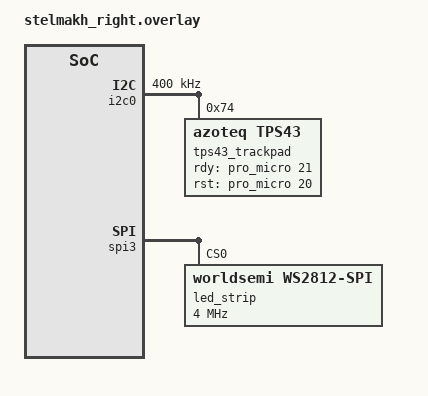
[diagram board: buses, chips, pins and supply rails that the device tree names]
#include <zephyr/dt-bindings/i2c/i2c.h>
#include <dt-bindings/pinctrl/nrf-pinctrl.h>
#include <dt-bindings/gpio/gpio.h>
#include <dt-bindings/led/led.h>
#include "stelmakh.dtsi"
#include "stelmakh-pinctrl.dtsi"

&default_transform {
    col-offset = <6>;
};

&kscan0 {
    col-gpios
        = <&pro_micro 10 GPIO_ACTIVE_HIGH>
        , <&pro_micro 16 GPIO_ACTIVE_HIGH>
        , <&pro_micro 14 GPIO_ACTIVE_HIGH>
        , <&pro_micro 15 GPIO_ACTIVE_HIGH>
        , <&pro_micro 18 GPIO_ACTIVE_HIGH>
        , <&pro_micro 19 GPIO_ACTIVE_HIGH>
        ;
};

&gpio0 {
    status = "okay";
};

&gpio1 {
    status = "okay";
};

&i2c0 {
    status = "okay";
    clock-frequency = <I2C_BITRATE_FAST>;
    pinctrl-0 = <&i2c0_azoteq_default>;
    pinctrl-1 = <&i2c0_azoteq_sleep>;
    pinctrl-names = "default", "sleep";

    tps43_trackpad: trackpad@74 {
        compatible = "azoteq,tps43";
        reg = <0x74>;
        status = "okay";

        rdy-gpios = <&pro_micro 21 GPIO_ACTIVE_HIGH>;
        rst-gpios = <&pro_micro 20 GPIO_ACTIVE_HIGH>;

        sensitivity = <100>;
        scroll-sensitivity = <50>;
        filter-settings=<0x0B>;
        scroll;
        two-finger-tap;
        single-tap;
        press-and-hold;
        swipes;
        invert-scroll-y;
        invert-x;
    };
};

// ─────────────────────────────────────────────────────────────
// WS2812 RGB Underglow
// Пин P1.12 уже определён в stelmakh-pinctrl.dtsi (spi3)
// Здесь только подключаем устройство — &pinctrl не дублируем
// ─────────────────────────────────────────────────────────────
&spi3 {
    compatible = "nordic,nrf-spim";
    status = "okay";

    pinctrl-0 = <&spi3_default>;
    pinctrl-1 = <&spi3_sleep>;
    pinctrl-names = "default", "sleep";

    led_strip: ws2812@0 {
        compatible = "worldsemi,ws2812-spi";
        reg = <0>;
        spi-max-frequency = <4000000>;
        chain-length = <35>; /* измени на реальное кол-во светодиодов */
        spi-one-frame = <0x70>;
        spi-zero-frame = <0x40>;
        color-mapping = <LED_COLOR_ID_GREEN
                         LED_COLOR_ID_RED
                         LED_COLOR_ID_BLUE>;
    };
};

/ {
    chosen {
        zmk,underglow = &led_strip;
    };

    split_inputs {
        #address-cells = <1>;
        #size-cells = <0>;
        tps43_split: tps43_split@0 {
            compatible = "zmk,input-split";
            reg = <0>;
            device = <&tps43_trackpad>;
        };
    };
};
